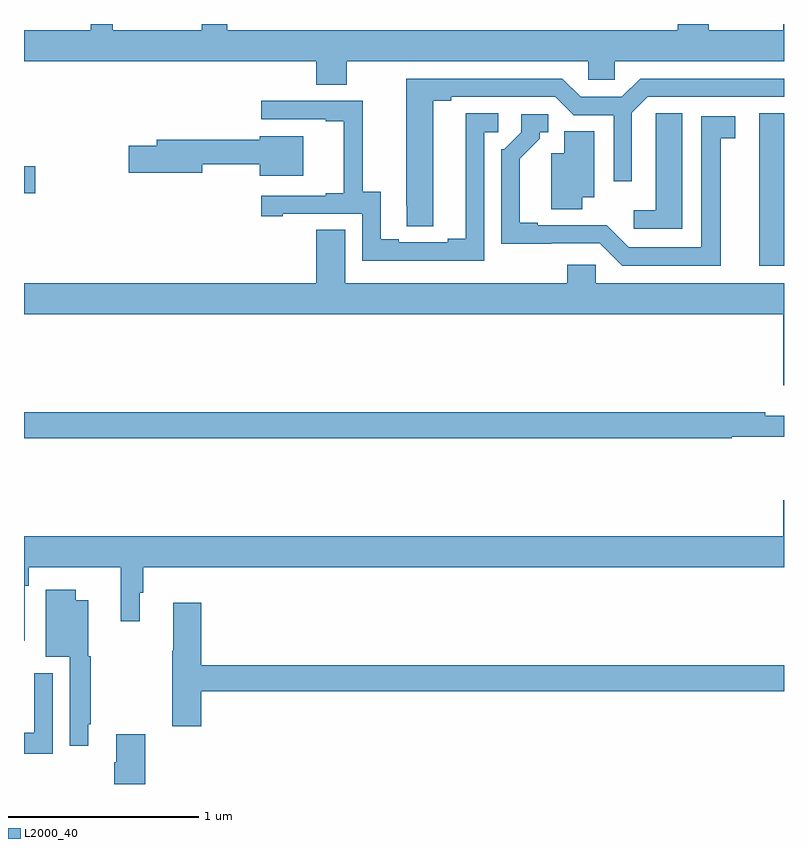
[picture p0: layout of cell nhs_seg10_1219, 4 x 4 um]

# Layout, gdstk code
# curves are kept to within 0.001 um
import gdstk
lib = gdstk.Library(unit=1e-6, precision=1e-09)
def R(c, l, rs):  # rectangles x0, y0, x1, y1
    for r in rs: c.add(gdstk.rectangle(r[:2], r[2:], *l))
def P(c, l, *ps):  # polygons
    for p in ps: c.add(gdstk.Polygon(p, *l))
L2000_40 = (2000, 40)

nhs_seg10_1219 = lib.new_cell('nhs_seg10_1219')
R(nhs_seg10_1219, L2000_40, [(176.87,1311.228,177,1312.03), (173,1311.61,173.059,1311.752)])
P(nhs_seg10_1219, L2000_40, [(174.699,1312.304),(175.971,1312.304),(175.971,1312.206),(176.109,1312.206),(176.109,1312.304),(177,1312.304),(177,1312.5),(176.996,1312.5),(176.996,1312.468),(176.605,1312.468),(176.605,1312.5),(176.441,1312.5),(176.441,1312.468),(174.071,1312.468),(174.071,1312.5),(173.935,1312.5),(173.935,1312.468),(173.468,1312.468),(173.468,1312.5),(173.351,1312.5),(173.351,1312.468),(173,1312.468),(173,1312.304),(174.539,1312.304),(174.539,1312.18),(174.699,1312.18)],
  [(175.153,1312.096),(175.249,1312.096),(175.249,1312.116),(175.797,1312.116),(175.893,1312.02),(176.103,1312.02),(176.103,1311.672),(176.199,1311.672),(176.199,1312.032),(176.283,1312.116),(177,1312.116),(177,1312.212),(176.243,1312.212),(176.147,1312.116),(175.929,1312.116),(175.833,1312.212),(175.013,1312.212),(175.014,1311.436),(175.153,1311.436)],
  [(175.422,1311.93),(175.495,1311.93),(175.495,1312.031),(175.325,1312.031),(175.325,1311.371),(175.229,1311.371),(175.229,1311.351),(174.973,1311.351),(174.973,1311.366),(174.877,1311.366),(174.877,1311.617),(174.783,1311.617),(174.783,1312.095),(174.249,1312.095),(174.249,1311.999),(174.587,1311.999),(174.587,1311.987),(174.683,1311.987),(174.683,1311.61),(174.587,1311.61),(174.587,1311.597),(174.249,1311.597),(174.249,1311.489),(174.361,1311.489),(174.361,1311.501),(174.78,1311.501),(174.78,1311.255),(175.422,1311.255)],
  [(176.464,1312.031),(176.325,1312.031),(176.325,1311.923),(176.324,1311.923),(176.324,1311.52),(176.208,1311.52),(176.208,1311.423),(176.464,1311.423)],
  [(176.668,1311.898),(176.743,1311.898),(176.743,1312.014),(176.564,1312.014),(176.564,1311.324),(176.184,1311.324),(176.066,1311.442),(175.705,1311.441),(175.705,1311.454),(175.609,1311.454),(175.609,1311.79),(175.714,1311.895),(175.714,1311.93),(175.759,1311.93),(175.759,1312.026),(175.617,1312.026),(175.617,1311.93),(175.527,1311.84),(175.512,1311.84),(175.512,1311.344),(176.031,1311.345),(176.148,1311.228),(176.668,1311.228)],
  [(175.939,1311.587),(176.002,1311.587),(176.002,1311.935),(175.844,1311.935),(175.844,1311.82),(175.775,1311.82),(175.775,1311.526),(175.939,1311.526)],
  [(174.469,1311.91),(174.242,1311.91),(174.242,1311.892),(173.699,1311.892),(173.699,1311.858),(173.55,1311.858),(173.55,1311.716),(173.938,1311.716),(173.938,1311.763),(174.242,1311.763),(174.242,1311.701),(174.469,1311.701)],
  [(177,1311.136),(176.01,1311.136),(176.01,1311.234),(175.859,1311.234),(175.859,1311.136),(174.691,1311.136),(174.691,1311.416),(174.539,1311.416),(174.539,1311.136),(173,1311.136),(173,1310.972),(176.996,1310.972),(176.996,1310.598),(177,1310.598)],
  [(176.726,1310.328),(177,1310.328),(177,1310.437),(176.9,1310.437),(176.9,1310.456),(173,1310.456),(173,1310.32),(176.726,1310.32)],
  [(173.004,1309.544),(173.024,1309.544),(173.024,1309.64),(173.509,1309.64),(173.509,1309.356),(173.608,1309.356),(173.608,1309.506),(173.627,1309.506),(173.627,1309.64),(177,1309.64),(177,1309.993),(176.996,1309.993),(176.996,1309.804),(173,1309.804),(173,1309.254),(173.004,1309.254)],
  [(173.338,1308.814),(173.35,1308.814),(173.35,1309.173),(173.338,1309.173),(173.338,1309.468),(173.272,1309.468),(173.272,1309.522),(173.114,1309.522),(173.114,1309.169),(173.241,1309.169),(173.241,1308.702),(173.338,1308.702)],
  [(173.933,1308.988),(177,1308.988),(177,1309.124),(173.933,1309.124),(173.933,1309.453),(173.786,1309.453),(173.786,1309.201),(173.779,1309.201),(173.779,1308.804),(173.933,1308.804)],
  [(173.151,1309.084),(173.054,1309.084),(173.054,1308.769),(173,1308.769),(173,1308.66),(173.151,1308.66)],
  [(173.639,1308.763),(173.486,1308.763),(173.486,1308.614),(173.474,1308.614),(173.474,1308.5),(173.639,1308.5)])

lib.write_gds('nhs_seg10_1219.gds')
